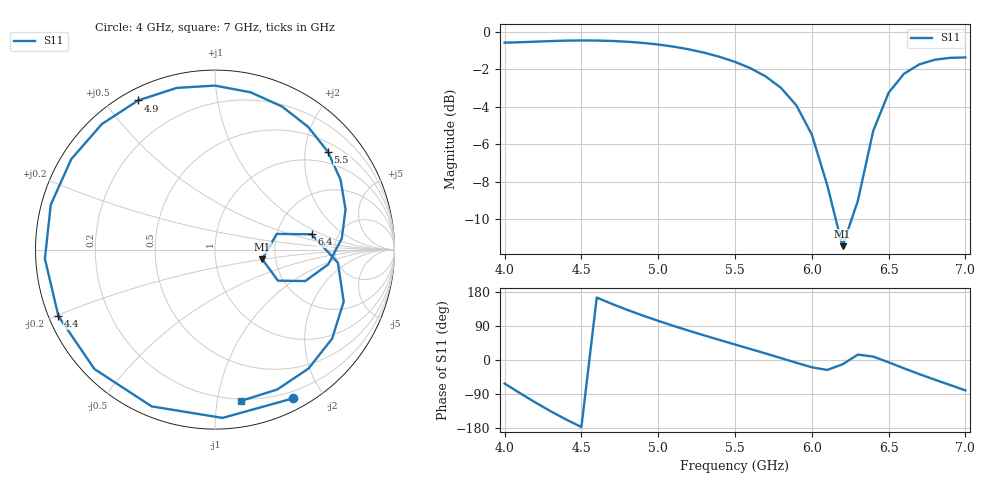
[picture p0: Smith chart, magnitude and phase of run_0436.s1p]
! Touchstone file exported from HFSS 2024.2.0
!  File:  C:/Users/wsak9/Desktop/Sim Fast/Widenad Patch/WP_AI_V1_sweep.aedt
!  Generated:  09:54:13 AM Oct 14, 2026
!  Design:  A1_model
!  Project:  WP_AI_V1_sweep
!  Setup:  Setup1
!  Solution:  Sweep
! Variables:
!  Air_gap = 4.77mm
!  Curve_Amp1 = 1.4
!  Curve_len1 = 1
!  Curve_pos = 9.92mm
!  Extra = 2.34mm
!  H_sub = 0.79mm
!  L_Patch = 15.84mm
!  L_Patch1 = 13.85mm
!  Sx = 1.17mm
!  Sy = 4.13mm
!  WS = 0.57mm
!  W_Patch = 13.08mm
!  W_Patch1 = 11.51mm
!Data is not renormalized
# GHz S MA
! Terminal data exported
! Port[1] = 1
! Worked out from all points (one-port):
!   31 points, 4 GHz to 7 GHz, reference per port
!   lowest |S11| = -11.4 dB at 6.2 GHz (marker M1), VSWR 1.73
!   |S11| at or under -10 dB: 6.156 GHz to 6.259 GHz (102.4 MHz wide, 1.65 % of centre)
!   S11 on the Smith chart (normalised r, x): 4 GHz: 0.12, -1.65; 4.4 GHz: 0.03, -0.20; 4.9 GHz: 0.05, +0.61; 5.5 GHz: 0.71, +2.51; 6.4 GHz: 3.19, +0.77; 7 GHz: 0.19, -1.17
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4  0.9364 -62.2
4.1  0.9387 -87.4
4.2  0.9421 -112.0
4.3  0.9455 -135.3
4.4  0.948 -157.0
4.5  0.9491 -176.9
4.6  0.9486 164.7
4.7  0.9462 147.8
4.8  0.9417 132.0
4.9  0.935 117.3
5  0.9257 103.3
5.1  0.9137 90.0
5.2  0.8986 77.2
5.4  0.8583 52.8
5.5  0.8321 40.9
5.7  0.761 17.1
5.8  0.709 5.0
5.9  0.6367 -7.4
6  0.5329 -19.2
6.1  0.391 -26.3
6.2  0.2684 -11.5
6.3  0.3547 14.3
6.4  0.5448 9.0
6.5  0.6884 -6.1
6.6  0.7734 -22.0
6.7  0.8196 -37.2
6.9  0.8531 -66.0
7  0.8551 -80.1
